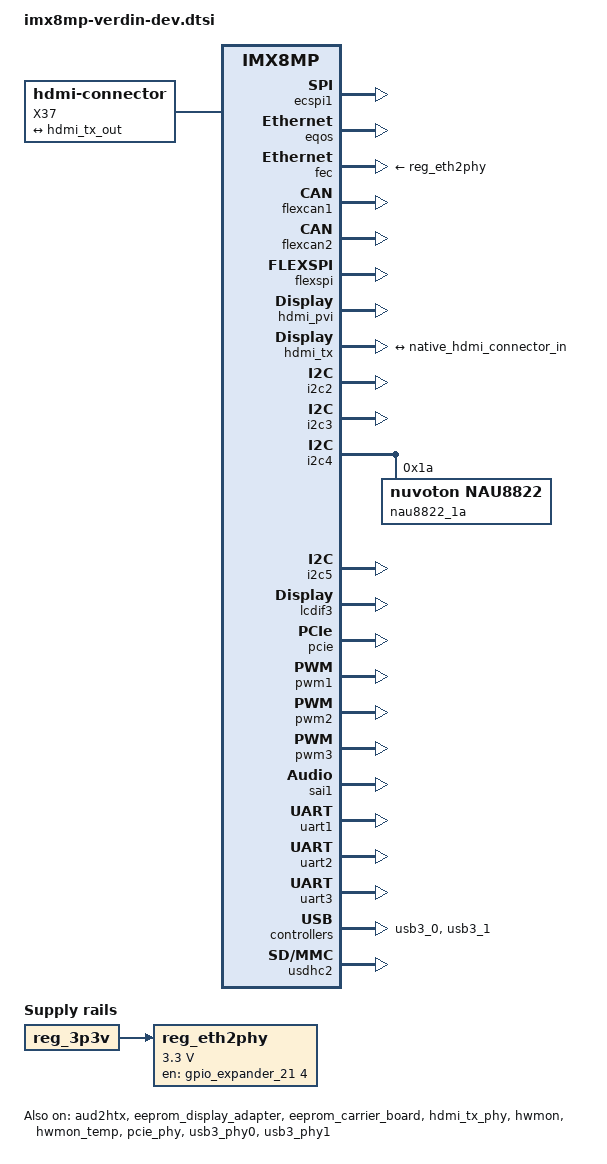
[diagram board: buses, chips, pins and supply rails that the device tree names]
// SPDX-License-Identifier: GPL-2.0-or-later OR MIT
/*
 * Copyright 2022 Toradex
 */

/ {
	native-hdmi-connector {
		compatible = "hdmi-connector";
		label = "X37";
		type = "a";

		port {
			native_hdmi_connector_in: endpoint {
				remote-endpoint = <&hdmi_tx_out>;
			};
		};
	};

	reg_eth2phy: regulator-eth2phy {
		compatible = "regulator-fixed";
		enable-active-high;
		gpio = <&gpio_expander_21 4 GPIO_ACTIVE_HIGH>; /* ETH_PWR_EN */
		off-on-delay-us = <500000>;
		regulator-max-microvolt = <3300000>;
		regulator-min-microvolt = <3300000>;
		regulator-name = "+V3.3_ETH";
		startup-delay-us = <200000>;
		vin-supply = <&reg_3p3v>;
	};

	sound {
		compatible = "simple-audio-card";
		simple-audio-card,bitclock-master = <&codec_dai>;
		simple-audio-card,format = "i2s";
		simple-audio-card,frame-master = <&codec_dai>;
		simple-audio-card,mclk-fs = <256>;
		simple-audio-card,name = "verdin-nau8822";
		simple-audio-card,routing =
			"Headphones", "LHP",
			"Headphones", "RHP",
			"Speaker", "LSPK",
			"Speaker", "RSPK",
			"Line Out", "AUXOUT1",
			"Line Out", "AUXOUT2",
			"LAUX", "Line In",
			"RAUX", "Line In",
			"LMICP", "Mic In",
			"RMICP", "Mic In";
		simple-audio-card,widgets =
			"Headphones", "Headphones",
			"Line Out", "Line Out",
			"Speaker", "Speaker",
			"Microphone", "Mic In",
			"Line", "Line In";

		codec_dai: simple-audio-card,codec {
			clocks = <&audio_blk_ctrl IMX8MP_CLK_AUDIOMIX_SAI1_MCLK1>;
			sound-dai = <&nau8822_1a>;
		};

		simple-audio-card,cpu {
			sound-dai = <&sai1>;
		};
	};
};

/* Verdin HDMI_1 Audio */
&aud2htx {
	status = "okay";
};

&backlight {
	power-supply = <&reg_3p3v>;
};

/* Verdin SPI_1 */
&ecspi1 {
	status = "okay";
};

/* EEPROM on display adapter boards */
&eeprom_display_adapter {
	status = "okay";
};

/* EEPROM on Verdin Development board */
&eeprom_carrier_board {
	status = "okay";
};

&eqos {
	status = "okay";
};

&fec {
	phy-supply = <&reg_eth2phy>;
	status = "okay";
};

&flexcan1 {
	status = "okay";
};

&flexcan2 {
	status = "okay";
};

/* Verdin QSPI_1 */
&flexspi {
	status = "okay";
};

&gpio4 {
	pinctrl-names = "default";
	pinctrl-0 = <&pinctrl_ctrl_sleep_moci>;
};

&gpio_expander_21 {
	status = "okay";
	vcc-supply = <&reg_1p8v>;
};

/* Verdin HDMI_1 */
&hdmi_pvi {
	status = "okay";
};

&hdmi_tx {
	status = "okay";

	ports {
		port@1 {
			hdmi_tx_out: endpoint {
				remote-endpoint = <&native_hdmi_connector_in>;
			};
		};
	};
};

&hdmi_tx_phy {
	status = "okay";
};

/* Current measurement into module VCC */
&hwmon {
	status = "okay";
};

&hwmon_temp {
	vs-supply = <&reg_1p8v>;
	status = "okay";
};

/* Verdin I2C_2_DSI */
&i2c2 {
	status = "okay";
};

&i2c3 {
	status = "okay";
};

/* Verdin I2C_1 */
&i2c4 {
	status = "okay";

	/* Audio Codec */
	nau8822_1a: audio-codec@1a {
		compatible = "nuvoton,nau8822";
		reg = <0x1a>;
		pinctrl-names = "default";
		pinctrl-0 = <&pinctrl_sai1>;
		#sound-dai-cells = <0>;
	};
};

/* Verdin I2C_3_HDMI */
&i2c5 {
	status = "okay";
};

&lcdif3 {
	status = "okay";
};

/* Verdin PCIE_1 */
&pcie {
	status = "okay";
};

&pcie_phy {
	status = "okay";
};

/* Verdin PWM_1 */
&pwm1 {
	status = "okay";
};

/* Verdin PWM_2 */
&pwm2 {
	status = "okay";
};

/* Verdin PWM_3_DSI */
&pwm3 {
	status = "okay";
};

&reg_usdhc2_vmmc {
	vin-supply = <&reg_3p3v>;
};

/* Verdin I2S_1 */
&sai1 {
	assigned-clocks = <&clk IMX8MP_CLK_SAI1>;
	assigned-clock-parents = <&clk IMX8MP_AUDIO_PLL1_OUT>;
	assigned-clock-rates = <24576000>;
	fsl,sai-mclk-direction-output;
	status = "okay";
};

/* Verdin HDMI_1 Audio */
&sound_hdmi {
	status = "okay";
};

/* Verdin UART_1, connector X50 through RS485 transceiver */
&uart1 {
	linux,rs485-enabled-at-boot-time;
	rs485-rts-active-low;
	rs485-rx-during-tx;
	status = "okay";
};

/* Verdin UART_2 */
&uart2 {
	status = "okay";
};

/* Verdin UART_3, used as the Linux Console */
&uart3 {
	status = "okay";
};

/* Verdin USB_1 */
&usb3_0 {
	status = "okay";
};

&usb3_phy0 {
	status = "okay";
};

/* Verdin USB_2 */
&usb3_1 {
	fsl,permanently-attached;
	status = "okay";
};

&usb3_phy1 {
	status = "okay";
};

/* Limit frequency on dev board due to long traces and bad signal integrity */
&usdhc2 {
	max-frequency = <100000000>;
	status = "okay";
};
